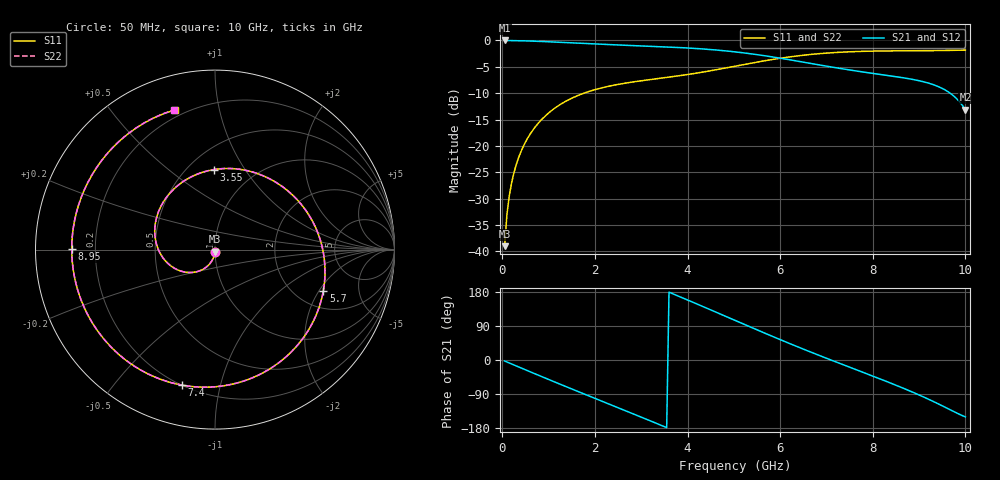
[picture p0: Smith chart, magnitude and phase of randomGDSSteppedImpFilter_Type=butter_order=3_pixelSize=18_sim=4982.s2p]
! freq	dB(S11)	phase(S11)	dB(S12)	phase(S12)
!  dB(S21)	phase(S21)	dB(S22)	phase(S22)
!S-par simulation data
#  GHz  S  DB  R 50
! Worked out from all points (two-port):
!   200 points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, 50 MHz to 10 GHz, reference 50 ohm
!   highest |S21| = 0.00 dB at 50 MHz (marker M1); lowest = -13.1 dB at 10 GHz (marker M2)
!   |S21| within 3 dB of the highest: start of sweep to 5.743 GHz
!   lowest |S11| = -39.0 dB at 50 MHz (marker M3), VSWR 1.02, Z = 49.9 - j1.12 ohm
!   |S11| at or under -10 dB: start of sweep to 1.764 GHz
!   |S22| runs from -39.0 to -1.8 dB; largest |S21 - S12| = 0
!   S11 on the Smith chart (normalised r, x): 50 MHz: 1.00, -0.02; 3.55 GHz: 0.66, +0.74; 5.7 GHz: 2.78, -2.19; 7.4 GHz: 0.20, -0.77; 8.95 GHz: 0.11, +0.00; 10 GHz: 0.16, +0.74
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0.05  -39.00 -92.3  -0.00 -2.6  -0.00 -2.6  -39.00 -92.3
0.1  -33.00 -95.1  -0.01 -5.2  -0.01 -5.2  -33.00 -95.1
0.2  -27.04 -100.5  -0.03 -10.4  -0.03 -10.4  -27.04 -100.4
0.5  -19.28 -116.4  -0.09 -25.9  -0.09 -25.9  -19.28 -116.4
1.15  -12.74 -149.7  -0.31 -58.9  -0.31 -58.9  -12.74 -149.6
1.75  -10.04 -179.7  -0.56 -88.8  -0.56 -88.8  -10.04 -179.6
2.5  -8.33 143.3  -0.85 -125.8  -0.85 -125.8  -8.33 143.4
2.95  -7.71 121.0  -1.01 -148.2  -1.01 -148.2  -7.71 121.1
3.4  -7.19 98.3  -1.17 -170.8  -1.17 -170.8  -7.19 98.4
3.55  -7.01 90.7  -1.23 -178.4  -1.23 -178.4  -7.02 90.8
4.2  -6.19 57.3  -1.54 148.0  -1.54 148.0  -6.19 57.4
4.65  -5.50 33.8  -1.84 124.4  -1.84 124.4  -5.50 33.9
5.05  -4.84 12.9  -2.19 103.3  -2.19 103.3  -4.84 12.9
5.7  -3.80 -20.8  -2.95 69.2  -2.95 69.2  -3.80 -20.8
6.2  -3.13 -46.1  -3.66 43.7  -3.66 43.7  -3.13 -46.1
6.7  -2.62 -70.5  -4.42 19.0  -4.42 19.0  -2.62 -70.6
7.4  -2.19 -103.6  -5.46 -14.3  -5.46 -14.3  -2.19 -103.7
7.85  -2.05 -124.7  -6.06 -35.4  -6.06 -35.4  -2.05 -124.7
8.35  -1.98 -148.7  -6.68 -59.2  -6.68 -59.2  -1.98 -148.7
8.95  -1.96 179.8  -7.54 -89.6  -7.54 -89.6  -1.96 179.9
9.5  -1.91 145.7  -9.10 -120.9  -9.10 -120.9  -1.91 145.8
10  -1.83 106.1  -13.15 -150.1  -13.15 -150.1  -1.83 106.4
